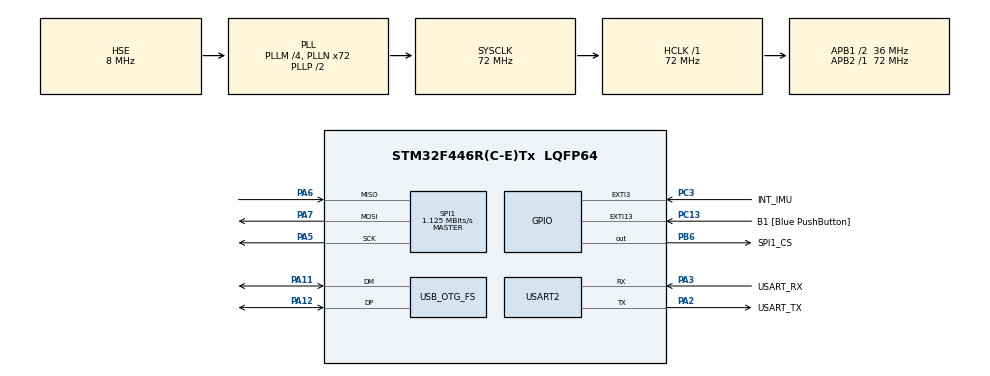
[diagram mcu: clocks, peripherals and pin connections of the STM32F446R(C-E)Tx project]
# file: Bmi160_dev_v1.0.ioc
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Dma.Request0=SPI1_RX
Dma.Request1=SPI1_TX
Dma.SPI1_RX.0.Direction=DMA_PERIPH_TO_MEMORY
Dma.SPI1_RX.0.FIFOMode=DMA_FIFOMODE_DISABLE
Dma.SPI1_RX.0.Instance=DMA2_Stream0
Dma.SPI1_RX.0.MemDataAlignment=DMA_MDATAALIGN_BYTE
Dma.SPI1_RX.0.MemInc=DMA_MINC_ENABLE
Dma.SPI1_RX.0.Mode=DMA_NORMAL
Dma.SPI1_RX.0.PeriphDataAlignment=DMA_PDATAALIGN_BYTE
Dma.SPI1_RX.0.PeriphInc=DMA_PINC_DISABLE
Dma.SPI1_RX.0.Priority=DMA_PRIORITY_LOW
Dma.SPI1_TX.1.Direction=DMA_MEMORY_TO_PERIPH
Dma.SPI1_TX.1.FIFOMode=DMA_FIFOMODE_DISABLE
Dma.SPI1_TX.1.Instance=DMA2_Stream3
Dma.SPI1_TX.1.MemDataAlignment=DMA_MDATAALIGN_BYTE
Dma.SPI1_TX.1.MemInc=DMA_MINC_ENABLE
Dma.SPI1_TX.1.Mode=DMA_NORMAL
Dma.SPI1_TX.1.PeriphDataAlignment=DMA_PDATAALIGN_BYTE
Dma.SPI1_TX.1.PeriphInc=DMA_PINC_DISABLE
Dma.SPI1_TX.1.Priority=DMA_PRIORITY_MEDIUM
Mcu.Family=STM32F4
Mcu.Name=STM32F446R(C-E)Tx
Mcu.Package=LQFP64
NVIC.DMA2_Stream0_IRQn=true\:0\:0\:false\:false\:true\:false\:true\:true
NVIC.DMA2_Stream3_IRQn=true\:0\:0\:false\:false\:true\:false\:true\:true
NVIC.EXTI15_10_IRQn=true\:0\:0\:false\:false\:true\:true\:true\:true
NVIC.EXTI3_IRQn=true\:0\:0\:false\:false\:true\:true\:true\:true
NVIC.OTG_FS_IRQn=true\:0\:0\:false\:false\:true\:false\:true\:true
NVIC.PriorityGroup=NVIC_PRIORITYGROUP_0
NVIC.SPI1_IRQn=true\:0\:0\:false\:false\:true\:true\:true\:true
PA11.Mode=Device_Only
PA11.Signal=USB_OTG_FS_DM
PA12.Mode=Device_Only
PA12.Signal=USB_OTG_FS_DP
PA13.GPIO_Label=TMS
PA13.Mode=Serial_Wire
PA13.Signal=SYS_JTMS-SWDIO
PA14.GPIO_Label=TCK
PA14.Mode=Serial_Wire
PA14.Signal=SYS_JTCK-SWCLK
PA2.GPIO_Label=USART_TX
PA2.Mode=Asynchronous
PA2.Signal=USART2_TX
PA3.GPIO_Label=USART_RX
PA3.Mode=Asynchronous
PA3.Signal=USART2_RX
PA5.Mode=Full_Duplex_Master
PA5.Signal=SPI1_SCK
PA6.Mode=Full_Duplex_Master
PA6.Signal=SPI1_MISO
PA7.Mode=Full_Duplex_Master
PA7.Signal=SPI1_MOSI
PB3.GPIO_Label=SWO
PB3.Signal=SYS_JTDO-SWO
PB6.GPIO_Label=SPI1_CS
PB6.Signal=GPIO_Output
PC13.GPIO_Label=B1 [Blue PushButton]
PC13.GPIO_ModeDefaultEXTI=GPIO_MODE_IT_FALLING
PC13.Signal=GPXTI13
PC14-OSC32_IN.Mode=LSE-External-Oscillator
PC14-OSC32_IN.Signal=RCC_OSC32_IN
PC15-OSC32_OUT.Mode=LSE-External-Oscillator
PC15-OSC32_OUT.Signal=RCC_OSC32_OUT
PC3.GPIO_Label=INT_IMU
PC3.Signal=GPXTI3
PH0-OSC_IN.Mode=HSE-External-Oscillator
PH0-OSC_IN.Signal=RCC_OSC_IN
PH1-OSC_OUT.Mode=HSE-External-Oscillator
PH1-OSC_OUT.Signal=RCC_OSC_OUT
ProjectManager.HeapSize=0x200
ProjectManager.StackSize=0x400
ProjectManager.TargetToolchain=STM32CubeIDE
RCC.48MHZClocksFreq_Value=84000000
RCC.AHBFreq_Value=72000000
RCC.APB1CLKDivider=RCC_HCLK_DIV2
RCC.APB1Freq_Value=36000000
RCC.APB1TimFreq_Value=72000000
RCC.APB2Freq_Value=72000000
RCC.APB2TimFreq_Value=72000000
RCC.CortexFreq_Value=72000000
RCC.FLatency-AdvancedSettings=FLASH_LATENCY_2
RCC.HCLKFreq_Value=72000000
RCC.HSE_VALUE=8000000
RCC.HSI_VALUE=16000000
RCC.PLLM=4
RCC.PLLN=72
RCC.PLLQ=3
RCC.SYSCLKFreq_VALUE=72000000
RCC.SYSCLKSource=RCC_SYSCLKSOURCE_PLLCLK
RCC.USBFreq_Value=48000000
RCC.VCOOutputFreq_Value=144000000
SPI1.BaudRatePrescaler=SPI_BAUDRATEPRESCALER_64
SPI1.CalculateBaudRate=1.125 MBits/s
SPI1.Direction=SPI_DIRECTION_2LINES
SPI1.Mode=SPI_MODE_MASTER
SPI1.VirtualType=VM_MASTER
USART2.VirtualMode=VM_ASYNC
USB_DEVICE.CLASS_NAME_FS=CDC
USB_DEVICE.VirtualMode-CDC_FS=Cdc
USB_DEVICE.VirtualModeFS=Cdc_FS
USB_OTG_FS.VirtualMode=Device_Only
VP_USB_DEVICE_VS_USB_DEVICE_CDC_FS.Mode=CDC_FS
board=NUCLEO-F446RE

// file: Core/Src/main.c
/* USER CODE BEGIN Header */
/**
  ******************************************************************************
  * @file           : main.c
  * @brief          : Main program body
  ******************************************************************************
  * @attention
  *
  * Copyright (c) 2024 STMicroelectronics.
  * All rights reserved.
  *
  * This software is licensed under terms that can be found in the LICENSE file
  * in the root directory of this software component.
  * If no LICENSE file comes with this software, it is provided AS-IS.
  *
  ******************************************************************************
  */
/* USER CODE END Header */
#include "main.h"
#include "usb_device.h"

/* USER CODE BEGIN Includes */
#include "usbd_cdc_if.h"
#include "BMI160.h"

/* USER CODE END Includes */

SPI_HandleTypeDef hspi1;
DMA_HandleTypeDef hdma_spi1_rx;
DMA_HandleTypeDef hdma_spi1_tx;

UART_HandleTypeDef huart2;

/* USER CODE BEGIN PV */
BMI160 imu;

/* USER CODE END PV */

void SystemClock_Config(void);
static void MX_GPIO_Init(void);
static void MX_DMA_Init(void);
static void MX_USART2_UART_Init(void);
static void MX_SPI1_Init(void);

/* USER CODE BEGIN 0 */

void HAL_GPIO_EXTI_Callback(uint16_t GPIO_Pin) {

	if (GPIO_Pin == INT_IMU_Pin) {
		//HAL_DMA_IRQHandler(&hdma_spi1_tx);// Maybe a solution for DMA working but not for now
		BMI160_ReadAccelerometer(&imu);
	}

}

void HAL_SPI_TxRxCpltCallback(SPI_HandleTypeDef *hspi) {

	//HAL_DMA_IRQHandler(&hdma_spi1_tx);

	if (hspi->Instance == SPI1) {

	   BMI160_ReadAccelerometerDMA_Complete(&imu);
	}
}

/* USER CODE END 0 */

int main(void)
{

  /* MCU Configuration--------------------------------------------------------*/

  /* Reset of all peripherals, Initializes the Flash interface and the Systick. */
  HAL_Init();

  /* Configure the system clock */
  SystemClock_Config();

  /* Initialize all configured peripherals */
  MX_GPIO_Init();
  MX_DMA_Init();
  MX_USART2_UART_Init();
  MX_USB_DEVICE_Init();
  MX_SPI1_Init();
  /* USER CODE BEGIN 2 */
  /* Initilize the IMU */

  BMI160_Init(&imu, &hspi1, GPIOB, SPI1_CS_Pin);

  //imu.acc_mps2[0] = 2.0;

  /* USER CODE END 2 */

  /* Infinite loop */
  /* USER CODE BEGIN WHILE */
  char logBuf[64];

  while (1)
  {
    /* USER CODE END WHILE */

    /* USER CODE BEGIN 3 */
	uint8_t dataa;

	//BMI160_ReadRegister(&imu,0x02, &dataa);

	//uint8_t ch=0;
	//ch = BMI160_ReadAccelerometer(&imu);

    sprintf(logBuf, "%.2f\t%.2f\t%.2f\r\n", imu.acc_mps2[0],imu.acc_mps2[1],imu.acc_mps2[2]);

    CDC_Transmit_FS((uint8_t *) logBuf, strlen(logBuf));

	  HAL_Delay(250);

  }
  /* USER CODE END 3 */
}

void SystemClock_Config(void)
{
  RCC_OscInitTypeDef RCC_OscInitStruct = {0};
  RCC_ClkInitTypeDef RCC_ClkInitStruct = {0};

  /** Configure the main internal regulator output voltage
  */
  __HAL_RCC_PWR_CLK_ENABLE();
  __HAL_PWR_VOLTAGESCALING_CONFIG(PWR_REGULATOR_VOLTAGE_SCALE3);

  /** Initializes the RCC Oscillators according to the specified parameters
  * in the RCC_OscInitTypeDef structure.
  */
  RCC_OscInitStruct.OscillatorType = RCC_OSCILLATORTYPE_HSE;
  RCC_OscInitStruct.HSEState = RCC_HSE_ON;
  RCC_OscInitStruct.PLL.PLLState = RCC_PLL_ON;
  RCC_OscInitStruct.PLL.PLLSource = RCC_PLLSOURCE_HSE;
  RCC_OscInitStruct.PLL.PLLM = 4;
  RCC_OscInitStruct.PLL.PLLN = 72;
  RCC_OscInitStruct.PLL.PLLP = RCC_PLLP_DIV2;
  RCC_OscInitStruct.PLL.PLLQ = 3;
  RCC_OscInitStruct.PLL.PLLR = 2;
  if (HAL_RCC_OscConfig(&RCC_OscInitStruct) != HAL_OK)
  {
    Error_Handler();
  }

  /** Initializes the CPU, AHB and APB buses clocks
  */
  RCC_ClkInitStruct.ClockType = RCC_CLOCKTYPE_HCLK|RCC_CLOCKTYPE_SYSCLK
                              |RCC_CLOCKTYPE_PCLK1|RCC_CLOCKTYPE_PCLK2;
  RCC_ClkInitStruct.SYSCLKSource = RCC_SYSCLKSOURCE_PLLCLK;
  RCC_ClkInitStruct.AHBCLKDivider = RCC_SYSCLK_DIV1;
  RCC_ClkInitStruct.APB1CLKDivider = RCC_HCLK_DIV2;
  RCC_ClkInitStruct.APB2CLKDivider = RCC_HCLK_DIV1;

  if (HAL_RCC_ClockConfig(&RCC_ClkInitStruct, FLASH_LATENCY_2) != HAL_OK)
  {
    Error_Handler();
  }
}

static void MX_SPI1_Init(void)
{

  /* SPI1 parameter configuration*/
  hspi1.Instance = SPI1;
  hspi1.Init.Mode = SPI_MODE_MASTER;
  hspi1.Init.Direction = SPI_DIRECTION_2LINES;
  hspi1.Init.DataSize = SPI_DATASIZE_8BIT;
  hspi1.Init.CLKPolarity = SPI_POLARITY_LOW;
  hspi1.Init.CLKPhase = SPI_PHASE_1EDGE;
  hspi1.Init.NSS = SPI_NSS_SOFT;
  hspi1.Init.BaudRatePrescaler = SPI_BAUDRATEPRESCALER_64;
  hspi1.Init.FirstBit = SPI_FIRSTBIT_MSB;
  hspi1.Init.TIMode = SPI_TIMODE_DISABLE;
  hspi1.Init.CRCCalculation = SPI_CRCCALCULATION_DISABLE;
  hspi1.Init.CRCPolynomial = 10;
  if (HAL_SPI_Init(&hspi1) != HAL_OK)
  {
    Error_Handler();
  }

}

static void MX_USART2_UART_Init(void)
{

  huart2.Instance = USART2;
  huart2.Init.BaudRate = 115200;
  huart2.Init.WordLength = UART_WORDLENGTH_8B;
  huart2.Init.StopBits = UART_STOPBITS_1;
  huart2.Init.Parity = UART_PARITY_NONE;
  huart2.Init.Mode = UART_MODE_TX_RX;
  huart2.Init.HwFlowCtl = UART_HWCONTROL_NONE;
  huart2.Init.OverSampling = UART_OVERSAMPLING_16;
  if (HAL_UART_Init(&huart2) != HAL_OK)
  {
    Error_Handler();
  }

}

static void MX_DMA_Init(void)
{

  /* DMA controller clock enable */
  __HAL_RCC_DMA2_CLK_ENABLE();

  /* DMA interrupt init */
  /* DMA2_Stream0_IRQn interrupt configuration */
  HAL_NVIC_SetPriority(DMA2_Stream0_IRQn, 1, 0);
  HAL_NVIC_EnableIRQ(DMA2_Stream0_IRQn);
  /* DMA2_Stream3_IRQn interrupt configuration */
  HAL_NVIC_SetPriority(DMA2_Stream3_IRQn, 0, 0);
  HAL_NVIC_EnableIRQ(DMA2_Stream3_IRQn);

}

static void MX_GPIO_Init(void)
{
  GPIO_InitTypeDef GPIO_InitStruct = {0};

  /* GPIO Ports Clock Enable */
  __HAL_RCC_GPIOC_CLK_ENABLE();
  __HAL_RCC_GPIOH_CLK_ENABLE();
  __HAL_RCC_GPIOA_CLK_ENABLE();
  __HAL_RCC_GPIOB_CLK_ENABLE();

  /*Configure GPIO pin Output Level */
  HAL_GPIO_WritePin(SPI1_CS_GPIO_Port, SPI1_CS_Pin, GPIO_PIN_RESET);

  /*Configure GPIO pin : B1_Pin */
  GPIO_InitStruct.Pin = B1_Pin;
  GPIO_InitStruct.Mode = GPIO_MODE_IT_FALLING;
  GPIO_InitStruct.Pull = GPIO_NOPULL;
  HAL_GPIO_Init(B1_GPIO_Port, &GPIO_InitStruct);

  /*Configure GPIO pin : INT_IMU_Pin */
  GPIO_InitStruct.Pin = INT_IMU_Pin;
  GPIO_InitStruct.Mode = GPIO_MODE_IT_RISING;
  GPIO_InitStruct.Pull = GPIO_NOPULL;
  HAL_GPIO_Init(INT_IMU_GPIO_Port, &GPIO_InitStruct);

  /*Configure GPIO pin : SPI1_CS_Pin */
  GPIO_InitStruct.Pin = SPI1_CS_Pin;
  GPIO_InitStruct.Mode = GPIO_MODE_OUTPUT_PP;
  GPIO_InitStruct.Pull = GPIO_NOPULL;
  GPIO_InitStruct.Speed = GPIO_SPEED_FREQ_LOW;
  HAL_GPIO_Init(SPI1_CS_GPIO_Port, &GPIO_InitStruct);

  /* EXTI interrupt init*/
  HAL_NVIC_SetPriority(EXTI3_IRQn, 0, 0);
  HAL_NVIC_EnableIRQ(EXTI3_IRQn);

  HAL_NVIC_SetPriority(EXTI15_10_IRQn, 0, 0);
  HAL_NVIC_EnableIRQ(EXTI15_10_IRQn);

}

void Error_Handler(void)
{
  __disable_irq();
  while (1)
  {
  }
}
